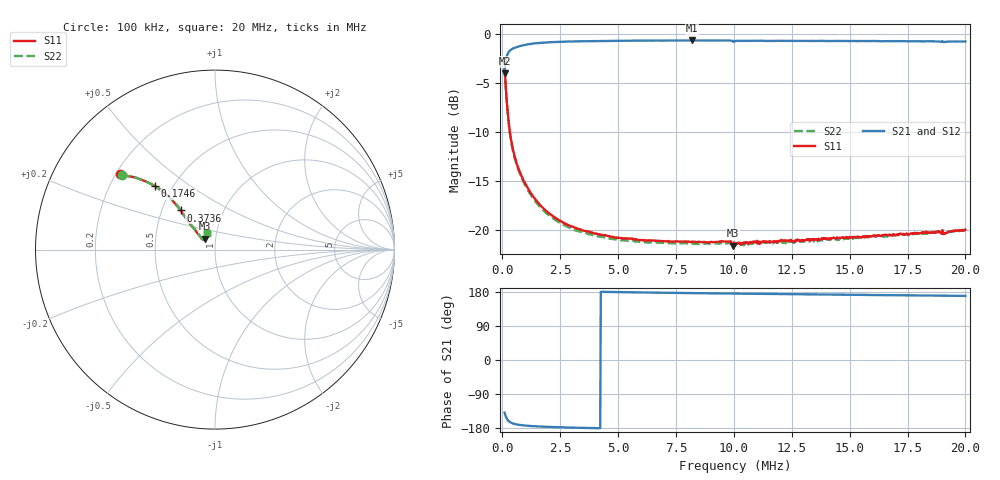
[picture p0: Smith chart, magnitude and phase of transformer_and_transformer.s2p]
#  HZ  S  DB  R  50.0
! Rohde & Schwarz ZVL13 2Ports - Version 3.32 - 1303.6509k13 SN: 100950
! Date: 2021-08-05 11:46:17
! Messung-Serienkreis ----c-L 8MHz
! Data & Calibration Information:
! Trc1:S11(TOSM) Trc2:S21(TOSM) Trc3:S12(TOSM) Trc4:S22(TOSM)
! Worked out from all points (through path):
!   801 points, 100 kHz to 20 MHz, reference 50 ohm
!   highest |S21| = -0.70 dB at 8.184 MHz (marker M1); lowest = -4.0 dB at 100 kHz (marker M2)
!   lowest |S11| = -21.6 dB at 9.975 MHz (marker M3), VSWR 1.18, Z = 44.3 + j5.47 ohm
!   |S11| at or under -10 dB: 326.2 kHz to end of sweep
!   |S22| runs from -21.6 to -3.5 dB; largest |S21 - S12| = 0.0046
!   S11 on the Smith chart (normalised r, x): 100 kHz: 0.22, +0.33; 174.6 kHz: 0.40, +0.37; 373.6 kHz: 0.62, +0.30; 20 MHz: 0.90, +0.16
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100000  -3.42 141.7  -4.02 -138.9  -4.01 -138.9  -3.52 141.3
174625  -6.29 133.3  -2.47 -152.5  -2.48 -152.5  -6.42 133.0
224375  -7.80 131.5  -2.11 -157.6  -2.10 -157.5  -7.92 131.2
274125  -8.97 130.9  -1.87 -161.0  -1.88 -161.0  -9.11 130.6
373625  -10.74 131.3  -1.65 -165.2  -1.63 -165.3  -10.85 131.1
522875  -12.41 132.8  -1.46 -168.7  -1.44 -168.7  -12.56 132.5
721875  -13.88 134.1  -1.29 -171.1  -1.29 -171.1  -14.03 133.8
1020375  -15.41 135.1  -1.13 -173.2  -1.12 -173.2  -15.58 134.7
1393500  -16.78 136.1  -0.99 -174.9  -0.99 -174.9  -16.98 135.7
1816375  -17.88 137.2  -0.92 -176.1  -0.90 -176.2  -18.09 136.9
2289000  -18.75 138.4  -0.85 -177.2  -0.84 -177.2  -18.97 138.1
3433250  -20.02 140.3  -0.78 -179.0  -0.77 -179.1  -20.23 140.1
4851125  -20.74 140.2  -0.73 179.3  -0.72 179.3  -20.97 140.1
6741625  -21.08 138.4  -0.71 177.6  -0.70 177.6  -21.27 138.8
8184375  -21.22 136.3  -0.70 176.5  -0.70 176.5  -21.37 136.5
9776375  -21.18 133.6  -0.70 175.4  -0.70 175.4  -21.32 133.8
9975375  -21.59 132.6  -0.82 175.4  -0.81 175.4  -21.65 131.4
1.005e7  -21.45 132.9  -0.79 175.3  -0.78 175.4  -21.53 131.7
1.338325e7  -21.00 126.8  -0.75 173.1  -0.75 173.1  -21.00 126.6
1.669162e7  -20.50 121.3  -0.78 171.2  -0.77 171.1  -20.57 120.8
1.912938e7  -20.36 117.9  -0.85 169.7  -0.84 169.8  -20.29 115.7
2e7  -19.97 116.0  -0.80 169.2  -0.79 169.3  -19.98 115.5
